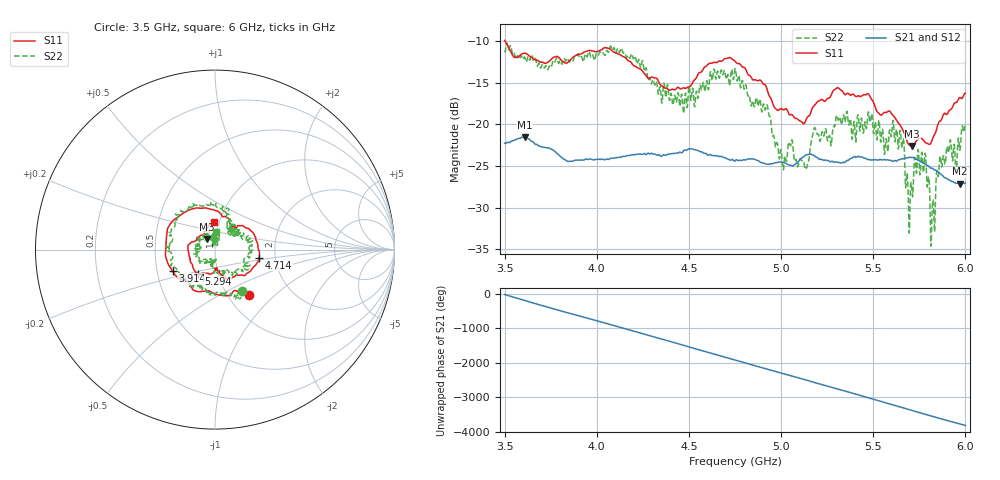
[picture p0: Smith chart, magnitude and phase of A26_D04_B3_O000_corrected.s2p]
! Created with skrf 1.9.0 (http://scikit-rf.org).
# Hz S RI R 50.0
!freq ReS11 ImS11 ReS21 ImS21 ReS12 ImS12 ReS22 ImS22
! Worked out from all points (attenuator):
!   1601 points, 3.5 GHz to 6 GHz, reference 50 ohm
!   highest |S21| = -21.53 dB at 3.609 GHz (marker M1); lowest = -27.1 dB at 5.972 GHz (marker M2)
!   lowest |S11| = -22.6 dB at 5.711 GHz (marker M3), VSWR 1.16, Z = 45.3 + j5.34 ohm
!   |S11| at or under -10 dB: 3.503 GHz to end of sweep
!   |S22| runs from -34.6 to -10.3 dB; largest |S21 - S12| = 0.00097
!   S11 on the Smith chart (normalised r, x): 3.5 GHz: 1.25, -0.71; 3.914 GHz: 0.60, -0.15; 4.714 GHz: 1.65, -0.15; 5.294 GHz: 0.80, -0.22; 6 GHz: 0.95, +0.30
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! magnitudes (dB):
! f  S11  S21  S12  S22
! 3.5 GHz  -9.9  -22.2  -22.2  -11.2
! 3.609 GHz  -11.4  -21.5  -21.5  -11.9
! 3.914 GHz  -11.5  -24.3  -24.2  -11.9
! 3.917 GHz  -11.5  -24.3  -24.2  -11.9
! 4.141 GHz  -11.8  -23.8  -23.8  -11.3
! 4.334 GHz  -14.8  -23.7  -23.6  -16.4
! 4.714 GHz  -12.0  -24.2  -24.2  -14.3
! 4.75 GHz  -12.4  -24.4  -24.3  -13.3
! 4.917 GHz  -15.4  -24.8  -24.7  -18.1
! 5.017 GHz  -18.2  -24.6  -24.5  -24.3
! 5.138 GHz  -19.3  -23.6  -23.5  -25.3
! 5.167 GHz  -18.2  -23.6  -23.6  -21.7
! 5.294 GHz  -15.8  -24.5  -24.4  -20.0
! 5.584 GHz  -18.4  -24.3  -24.2  -21.7
! 5.655 GHz  -20.4  -24.1  -24.1  -22.8
! 5.686 GHz  -22.2  -24.0  -24.0  -26.4
! 5.711 GHz  -22.6  -24.0  -23.9  -28.2
! 5.773 GHz  -21.9  -24.7  -24.6  -25.7
! 5.822 GHz  -21.7  -25.3  -25.2  -29.4
! 5.855 GHz  -19.8  -25.7  -25.7  -25.9
! 5.972 GHz  -16.8  -27.1  -27.0  -22.9
! 6 GHz  -16.3  -27.1  -27.0  -20.0
